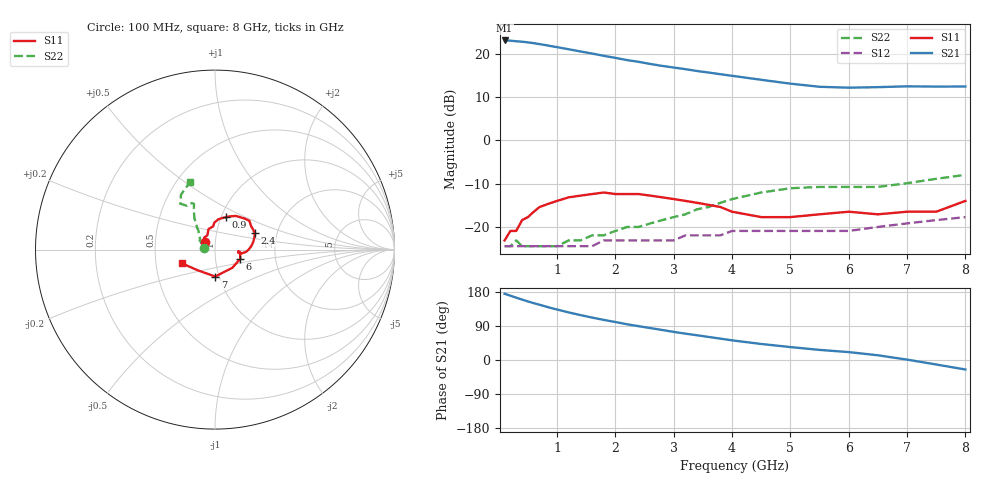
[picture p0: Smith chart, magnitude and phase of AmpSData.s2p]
! Amplifier S Parameters Including Noise
# mhz s ma r 50
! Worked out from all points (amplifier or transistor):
!   33 points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, 100 MHz to 8 GHz, reference 50 ohm
!   highest |S21| = 23.1 dB at 100 MHz (marker M1)
!   |S21| within 3 dB of that: start of sweep to 1.591 GHz
!   unconditionally stable (mu >= 1): start of sweep to 7.722 GHz
!   at 600 MHz: K = 1.01, MAG = 22.8 dB, |S12| = -24.4 dB
!   at 2.4 GHz: K = 1.10, MAG = 18.7 dB, |S12| = -23.1 dB
!   at 8 GHz: K = 0.94, MSG = 15.1 dB, |S12| = -17.7 dB
!   lowest NFmin = 3.00 dB at 10 MHz
!   S11 on the Smith chart (normalised r, x): 100 MHz: 0.89, +0.07; 900 MHz: 1.05, +0.39; 2.4 GHz: 1.54, +0.30; 6 GHz: 1.32, -0.14; 7 GHz: 0.96, -0.29; 8 GHz: 0.68, -0.11
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100  0.07 145.3  14.26 174.8  0.06 1.5  0.06 171.1
200  0.09 132.5  14.17 169.6  0.06 1.1  0.06 165.5
300  0.09 118.1  13.96 164.4  0.06 0.6  0.07 170.1
500  0.13 94.4  13.54 154.6  0.06 1.6  0.06 174.5
600  0.15 91.6  13.27 149.9  0.06 5.5  0.06 171.6
700  0.17 83.8  12.93 145.8  0.06 4.1  0.06 170.1
900  0.19 71.5  12.25 137.1  0.06 6.2  0.06 166.8
1200  0.22 58.5  11.28 125.5  0.06 9.2  0.07 164.0
1600  0.24 45.9  10.07 112.0  0.06 12.7  0.08 157.3
2000  0.24 33.1  8.97 100.2  0.07 12.7  0.09 152.3
2200  0.24 28.0  8.46 94.2  0.07 14.7  0.1 148.8
2400  0.24 22.2  8.07 89.2  0.07 15.1  0.1 145.4
2800  0.22 12.6  7.25 79.2  0.07 16.2  0.12 137.7
3200  0.2 4.4  6.65 69.5  0.08 15.6  0.14 131.2
3600  0.18 -2.4  6.07 60.8  0.08 17.0  0.17 127.3
4000  0.15 -8.0  5.57 51.9  0.09 15.7  0.21 123.2
4500  0.13 -7.6  5.01 42.3  0.09 13.9  0.25 118.1
5500  0.14 -5.6  4.16 26.6  0.09 10.7  0.29 116.7
6000  0.15 -20.0  4.06 20.9  0.09 12.9  0.29 117.3
6500  0.14 -46.4  4.12 12.4  0.1 13.3  0.29 122.7
7000  0.15 -89.5  4.21 1.0  0.11 14.4  0.32 127.1
8000  0.2 -157.5  4.19 -25.1  0.13 5.7  0.4 110.7
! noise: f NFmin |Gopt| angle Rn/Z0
10  3  0  0  1
1000  3.1  0  0  1
2000  3.8  0  0  1
3000  3.8  0  0  1
4000  4.1  0  0  1
5000  4.9  0  0  1
6000  5.7  0  0  1
7000  6.9  0  0  1
8000  8.1  0  0  1
